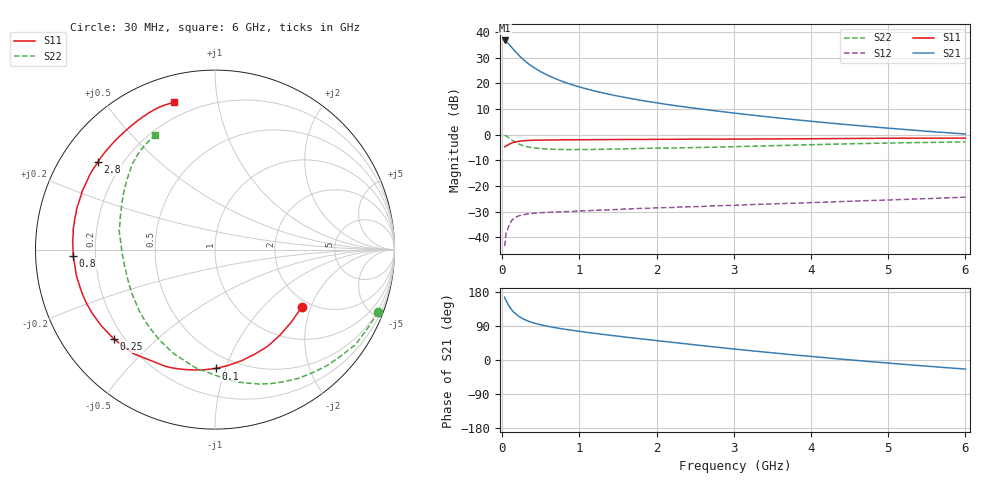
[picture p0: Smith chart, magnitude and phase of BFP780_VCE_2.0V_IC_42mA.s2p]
! Infineon Technologies  Discrete & RF Semiconductors
! BFP780
! VCE =  2.0 V,  IC =  42 mA
! Common Emitter S-Parameters:  Jul 2015
# GHz  S  MA  R  50
!  f  S11  S21  S12  S22
! GHz  MAG  ANG  MAG  ANG  MAG  ANG  MAG  ANG
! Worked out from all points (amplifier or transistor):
!   75 points, 30 MHz to 6 GHz, reference 50 ohm
!   highest |S21| = 36.7 dB at 30 MHz (marker M1)
!   |S21| within 3 dB of that: start of sweep to 130.5 MHz
!   unconditionally stable (mu >= 1): 2.095 GHz to end of sweep
!   at 150 MHz: K = 0.11, MSG = 32.9 dB, |S12| = -32.7 dB
!   at 2.3 GHz: K = 1.06, MAG = 18.1 dB, |S12| = -28.2 dB
!   at 6 GHz: K = 1.41, MAG = 8.5 dB, |S12| = -24.4 dB
!   S11 on the Smith chart (normalised r, x): 30 MHz: 1.79, -1.73; 100 MHz: 0.39, -0.93; 250 MHz: 0.16, -0.37; 800 MHz: 0.12, -0.02; 2.8 GHz: 0.11, +0.33; 6 GHz: 0.13, +0.75
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0.03  0.5799 -33.7  68.21 165.8  0.0067 72.4  0.9749 -20.9
0.05  0.5987 -52.9  65.1 156.6  0.0122 71.7  0.9452 -34.0
0.06  0.6137 -61.5  63.22 152.7  0.013 63.8  0.9178 -40.3
0.08  0.6368 -76.8  58.99 145.1  0.0157 57.8  0.8747 -51.7
0.1  0.6621 -89.7  54.54 138.7  0.0191 55.5  0.8312 -62.2
0.12  0.6816 -100.3  50.33 133.0  0.021 47.3  0.7895 -71.6
0.15  0.7067 -113.0  44.65 126.0  0.0231 40.7  0.735 -83.5
0.2  0.7363 -128.0  36.9 117.2  0.0257 34.6  0.6672 -99.4
0.25  0.7521 -138.5  31.15 110.7  0.027 29.9  0.6232 -111.7
0.3  0.7626 -146.3  26.71 105.6  0.028 26.8  0.5911 -121.5
0.35  0.7703 -152.3  23.32 101.6  0.0287 23.5  0.5689 -129.2
0.45  0.7788 -160.8  18.51 95.4  0.0297 21.0  0.543 -140.8
0.6  0.7858 -169.5  14.05 88.5  0.0306 18.3  0.5231 -152.8
0.8  0.7906 -177.4  10.59 81.5  0.0315 17.1  0.5129 -163.2
1.1  0.7942 174.0  7.692 72.9  0.0328 16.7  0.5123 -173.6
1.5  0.8002 165.4  5.614 62.9  0.0349 17.1  0.5233 177.2
2.1  0.8084 154.6  3.938 48.9  0.0377 16.8  0.5446 167.0
2.8  0.8156 143.2  2.857 33.4  0.0411 16.3  0.5712 155.9
3.1  0.8187 138.7  2.525 27.0  0.0425 16.3  0.5866 151.4
4.1  0.8318 124.7  1.76 7.6  0.0478 14.6  0.6396 138.6
5.1  0.8497 113.5  1.299 -9.8  0.0539 11.8  0.6879 127.6
6  0.8523 105.5  1.025 -24.0  0.0604 8.1  0.7193 117.8
